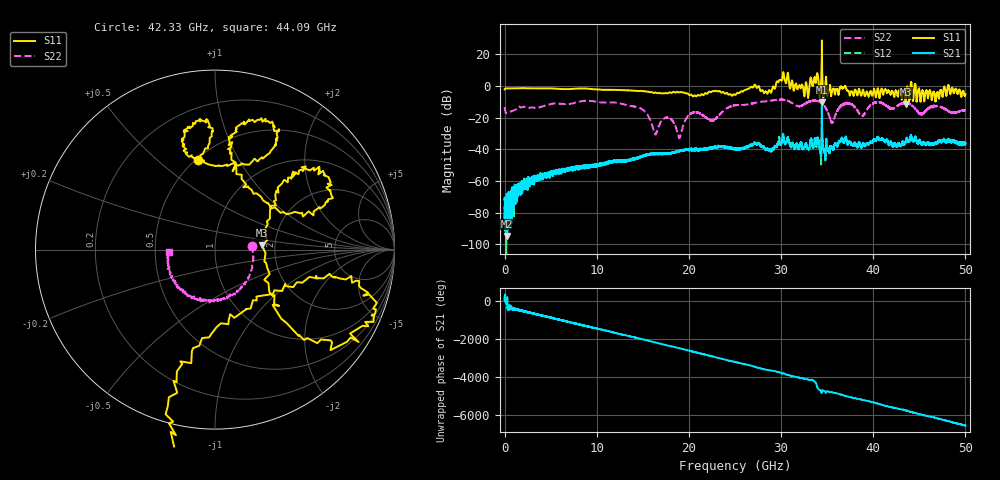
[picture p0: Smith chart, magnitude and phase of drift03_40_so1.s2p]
!Created with skrf (http://scikit-rf.org).
# Hz S RI R 50.0
!freq ReS11 ImS11 ReS21 ImS21 ReS12 ImS12 ReS22 ImS22
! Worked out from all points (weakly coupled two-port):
!   10000 points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, 5.3 MHz to 50 GHz, reference 50 ohm
!   highest |S21| = -10.30 dB at 34.43 GHz (marker M1); lowest = -94.8 dB at 270.3 MHz (marker M2)
!   lowest |S11| = -11.5 dB at 43.52 GHz (marker M3), VSWR 1.72, Z = 85.7 + j4.28 ohm
!   |S11| at or under -10 dB: 43.49277 GHz to 43.54163 GHz (48.86 MHz wide, 0.112 % of centre)
!   |S22| runs from -32.7 to -8.4 dB; largest |S21 - S12| = 0.099
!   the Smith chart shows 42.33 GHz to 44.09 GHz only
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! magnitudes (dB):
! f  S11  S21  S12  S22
! 5.3 MHz  -2.1  -71.2  -85.8  -13.3
! 270.3 MHz  -1.4  -94.8  -73.4  -17.0
! 3.17 GHz  -1.4  -62.3  -59.3  -13.5
! 8.34 GHz  -1.5  -50.9  -51.2  -9.5
! 14.55 GHz  -3.1  -45.4  -45.3  -13.5
! 16.67 GHz  -4.4  -43.0  -42.6  -26.1
! 17.8 GHz  -4.2  -42.6  -42.6  -20.0
! 18.98 GHz  -3.9  -41.0  -40.9  -32.7
! 20.28 GHz  -5.5  -39.7  -39.9  -17.1
! 22.57 GHz  -3.1  -39.1  -38.9  -21.5
! 25.01 GHz  -5.5  -39.7  -39.9  -12.2
! 28.72 GHz  -2.5  -40.7  -40.6  -9.3
! 30.14 GHz  4.4  -33.8  -34.1  -8.5
! 32.74 GHz  2.0  -36.9  -36.4  -10.5
! 33.34 GHz  2.6  -34.7  -35.2  -9.4
! 34.43 GHz  28.9  -10.3  -12.3  -10.9
! 35.54 GHz  -3.1  -38.8  -38.9  -23.1
! 36.95 GHz  0.2  -33.0  -33.2  -11.1
! 38.77 GHz  -5.1  -38.0  -38.0  -19.0
! 41.67 GHz  -3.0  -36.9  -36.9  -13.2
! 43.52 GHz  -11.5  -34.7  -35.3  -10.9
! 50 GHz  -5.2  -35.8  -36.1  -15.5
